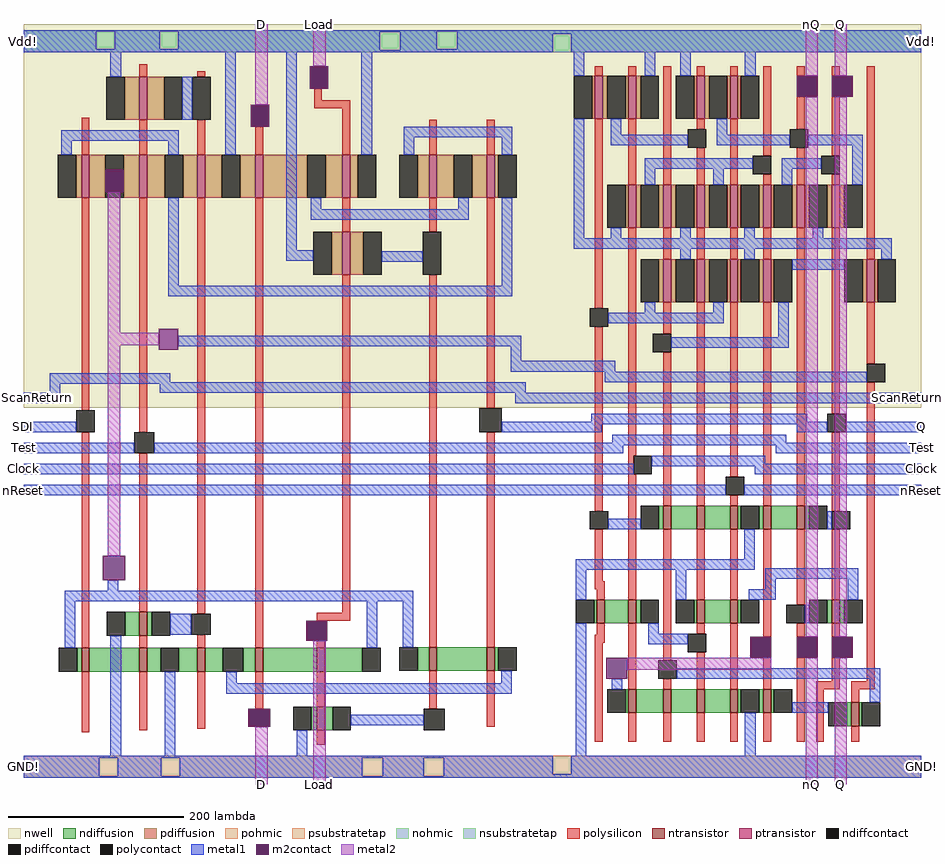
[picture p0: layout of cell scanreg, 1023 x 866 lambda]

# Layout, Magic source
magic
tech tsmc180
<< nwell >>
rect 0 429 1023 866
<< polysilicon >>
rect 132 806 141 820
rect 198 806 207 812
rect 66 717 75 759
rect 651 807 660 818
rect 689 807 698 818
rect 331 779 340 792
rect 132 717 141 757
rect 198 717 207 757
rect 331 770 372 779
rect 264 717 273 749
rect 363 717 372 770
rect 462 717 471 757
rect 528 717 537 757
rect 66 426 75 668
rect 132 401 141 668
rect 66 155 75 401
rect 132 196 141 377
rect 198 194 207 668
rect 132 155 141 169
rect 198 155 207 170
rect 264 155 273 668
rect 363 629 372 668
rect 462 629 471 668
rect 363 195 372 580
rect 334 186 372 195
rect 334 155 343 163
rect 462 156 471 580
rect 528 428 537 668
rect 651 542 660 758
rect 689 683 698 758
rect 729 683 738 818
rect 767 807 776 818
rect 805 807 814 818
rect 767 746 776 758
rect 767 683 776 725
rect 805 683 814 758
rect 843 716 852 818
rect 881 807 890 818
rect 921 807 930 818
rect 881 746 890 783
rect 843 683 852 695
rect 881 683 890 725
rect 921 716 930 783
rect 921 683 930 695
rect 528 156 537 401
rect 651 311 660 521
rect 689 374 698 634
rect 729 598 738 634
rect 767 598 776 634
rect 805 598 814 634
rect 843 598 852 634
rect 729 513 738 549
rect 689 353 695 374
rect 651 231 660 290
rect 651 222 662 231
rect 653 210 662 222
rect 689 210 698 353
rect 729 317 738 492
rect 767 317 776 549
rect 805 350 814 549
rect 805 317 814 329
rect 843 317 852 549
rect 881 422 890 634
rect 921 422 930 634
rect 961 598 970 818
rect 961 479 970 549
rect 881 401 892 422
rect 881 317 890 401
rect 921 311 930 401
rect 653 170 662 183
rect 651 161 662 170
rect 66 59 75 128
rect 132 61 141 128
rect 198 63 207 128
rect 264 86 273 128
rect 334 88 343 128
rect 462 86 471 129
rect 528 65 537 129
rect 334 45 343 61
rect 651 48 660 161
rect 689 108 698 183
rect 729 141 738 290
rect 767 210 776 290
rect 805 210 814 290
rect 767 171 776 183
rect 729 108 738 120
rect 767 108 776 150
rect 805 108 814 183
rect 843 168 852 290
rect 881 204 890 290
rect 921 210 930 290
rect 843 108 852 144
rect 881 168 890 183
rect 921 168 930 183
rect 689 48 698 81
rect 729 48 738 81
rect 767 48 776 81
rect 805 48 814 81
rect 843 48 852 81
rect 881 48 890 144
rect 921 117 930 144
rect 961 117 970 458
rect 903 108 930 117
rect 943 108 970 117
rect 903 48 912 108
rect 943 93 952 108
rect 943 48 952 66
<< ndiffusion >>
rect 116 169 132 196
rect 141 169 146 196
rect 724 290 729 317
rect 738 290 767 317
rect 776 290 805 317
rect 814 290 817 317
rect 838 290 843 317
rect 852 290 881 317
rect 890 290 895 317
rect 650 183 653 210
rect 662 183 689 210
rect 698 183 703 210
rect 61 128 66 155
rect 75 128 132 155
rect 141 128 156 155
rect 177 128 198 155
rect 207 128 227 155
rect 250 128 264 155
rect 273 128 334 155
rect 343 128 386 155
rect 449 129 462 156
rect 471 129 528 156
rect 537 129 541 156
rect 328 61 334 88
rect 343 61 352 88
rect 764 183 767 210
rect 776 183 805 210
rect 814 183 817 210
rect 916 183 921 210
rect 930 183 935 210
rect 686 81 689 108
rect 698 81 729 108
rect 738 81 767 108
rect 776 81 805 108
rect 814 81 817 108
rect 838 81 843 108
rect 852 81 855 108
rect 938 66 943 93
rect 952 66 955 93
<< pdiffusion >>
rect 115 757 132 806
rect 141 757 160 806
rect 648 758 651 807
rect 660 758 665 807
rect 686 758 689 807
rect 698 758 703 807
rect 60 668 66 717
rect 75 668 93 717
rect 114 668 132 717
rect 141 668 161 717
rect 182 668 198 717
rect 207 668 226 717
rect 247 668 264 717
rect 273 668 323 717
rect 344 668 363 717
rect 372 668 381 717
rect 449 668 462 717
rect 471 668 490 717
rect 511 668 528 717
rect 537 668 541 717
rect 351 580 363 629
rect 372 580 387 629
rect 764 758 767 807
rect 776 758 781 807
rect 802 758 805 807
rect 814 758 817 807
rect 686 634 689 683
rect 698 634 703 683
rect 724 634 729 683
rect 738 634 743 683
rect 764 634 767 683
rect 776 634 781 683
rect 802 634 805 683
rect 814 634 817 683
rect 838 634 843 683
rect 852 634 855 683
rect 876 634 881 683
rect 890 634 895 683
rect 916 634 921 683
rect 930 634 935 683
rect 724 549 729 598
rect 738 549 743 598
rect 764 549 767 598
rect 776 549 781 598
rect 802 549 805 598
rect 814 549 817 598
rect 838 549 843 598
rect 852 549 855 598
rect 956 549 961 598
rect 970 549 973 598
<< pohmic >>
rect 0 30 603 32
rect 0 9 86 30
rect 107 9 157 30
rect 178 9 386 30
rect 409 9 456 30
rect 479 11 603 30
rect 624 11 1023 32
rect 479 9 1023 11
rect 0 7 1023 9
<< nohmic >>
rect 0 858 1023 859
rect 0 837 83 858
rect 104 837 155 858
rect 176 857 471 858
rect 176 837 406 857
rect 0 836 406 837
rect 429 837 471 857
rect 494 855 1023 858
rect 494 837 603 855
rect 429 836 603 837
rect 0 834 603 836
rect 624 834 1023 855
<< ntransistor >>
rect 132 169 141 196
rect 729 290 738 317
rect 767 290 776 317
rect 805 290 814 317
rect 843 290 852 317
rect 881 290 890 317
rect 653 183 662 210
rect 689 183 698 210
rect 66 128 75 155
rect 132 128 141 155
rect 198 128 207 155
rect 264 128 273 155
rect 334 128 343 155
rect 462 129 471 156
rect 528 129 537 156
rect 334 61 343 88
rect 767 183 776 210
rect 805 183 814 210
rect 921 183 930 210
rect 689 81 698 108
rect 729 81 738 108
rect 767 81 776 108
rect 805 81 814 108
rect 843 81 852 108
rect 943 66 952 93
<< ptransistor >>
rect 132 757 141 806
rect 651 758 660 807
rect 689 758 698 807
rect 66 668 75 717
rect 132 668 141 717
rect 198 668 207 717
rect 264 668 273 717
rect 363 668 372 717
rect 462 668 471 717
rect 528 668 537 717
rect 363 580 372 629
rect 767 758 776 807
rect 805 758 814 807
rect 689 634 698 683
rect 729 634 738 683
rect 767 634 776 683
rect 805 634 814 683
rect 843 634 852 683
rect 881 634 890 683
rect 921 634 930 683
rect 729 549 738 598
rect 767 549 776 598
rect 805 549 814 598
rect 843 549 852 598
rect 961 549 970 598
<< polycontact >>
rect 192 757 213 806
rect 326 792 347 818
rect 259 749 280 774
rect 60 401 81 426
rect 126 377 149 401
rect 191 170 213 194
rect 455 580 476 629
rect 322 163 346 186
rect 757 725 778 746
rect 881 783 905 807
rect 921 783 945 807
rect 873 725 894 746
rect 831 695 852 716
rect 909 695 930 716
rect 645 521 666 542
rect 519 401 545 428
rect 717 492 738 513
rect 695 353 716 374
rect 645 290 666 311
rect 800 329 821 350
rect 961 458 982 479
rect 916 401 937 422
rect 921 290 942 311
rect 256 65 281 86
rect 456 61 480 86
rect 757 150 778 171
rect 723 120 744 141
rect 869 183 890 204
rect 828 144 852 168
rect 881 144 905 168
rect 921 144 945 168
<< ndiffcontact >>
rect 95 169 116 196
rect 146 169 167 196
rect 703 290 724 317
rect 817 290 838 317
rect 895 290 916 317
rect 629 183 650 210
rect 703 183 724 210
rect 40 128 61 155
rect 156 128 177 155
rect 227 128 250 155
rect 386 128 407 155
rect 428 129 449 156
rect 541 129 562 156
rect 307 61 328 88
rect 352 61 373 88
rect 743 183 764 210
rect 817 183 838 210
rect 895 183 916 210
rect 935 183 956 210
rect 665 81 686 108
rect 817 81 838 108
rect 855 81 876 108
rect 917 66 938 93
rect 955 66 976 93
<< pdiffcontact >>
rect 94 757 115 806
rect 160 757 181 806
rect 627 758 648 807
rect 665 758 686 807
rect 703 758 724 807
rect 39 668 60 717
rect 93 668 114 717
rect 161 668 182 717
rect 226 668 247 717
rect 323 668 344 717
rect 381 668 402 717
rect 428 668 449 717
rect 490 668 511 717
rect 541 668 562 717
rect 330 580 351 629
rect 387 580 408 629
rect 743 758 764 807
rect 781 758 802 807
rect 817 758 838 807
rect 665 634 686 683
rect 703 634 724 683
rect 743 634 764 683
rect 781 634 802 683
rect 817 634 838 683
rect 855 634 876 683
rect 895 634 916 683
rect 935 634 956 683
rect 703 549 724 598
rect 743 549 764 598
rect 781 549 802 598
rect 817 549 838 598
rect 855 549 876 598
rect 935 549 956 598
rect 973 549 994 598
<< psubstratetap >>
rect 86 9 107 30
rect 157 9 178 30
rect 386 9 409 30
rect 456 9 479 30
rect 603 11 624 32
<< nsubstratetap >>
rect 83 837 104 858
rect 155 837 176 858
rect 406 836 429 857
rect 471 837 494 858
rect 603 834 624 855
<< metal1 >>
rect 0 858 1023 859
rect 0 837 83 858
rect 104 837 155 858
rect 176 857 471 858
rect 176 837 406 857
rect 0 836 406 837
rect 429 837 471 857
rect 494 855 1023 858
rect 494 837 603 855
rect 429 836 603 837
rect 0 834 603 836
rect 624 834 1023 855
rect 99 806 111 834
rect 181 757 192 806
rect 43 733 177 745
rect 43 717 55 733
rect 165 717 177 733
rect 230 717 242 834
rect 165 568 177 668
rect 299 608 311 834
rect 385 717 397 834
rect 627 807 639 834
rect 708 807 720 834
rect 748 807 760 834
rect 822 807 834 834
rect 433 737 557 749
rect 433 717 445 737
rect 545 717 557 737
rect 327 655 339 668
rect 495 655 507 668
rect 327 643 507 655
rect 299 596 330 608
rect 408 595 455 607
rect 545 568 557 668
rect 627 622 639 758
rect 669 740 681 758
rect 669 728 757 740
rect 790 740 802 758
rect 790 728 873 740
rect 894 728 956 740
rect 708 701 831 713
rect 708 683 720 701
rect 786 683 798 701
rect 864 701 909 713
rect 864 683 876 701
rect 944 683 956 728
rect 669 622 681 634
rect 748 622 760 634
rect 821 622 833 634
rect 899 622 911 634
rect 627 610 989 622
rect 748 598 760 610
rect 821 598 833 610
rect 977 598 989 610
rect 165 556 557 568
rect 876 586 935 598
rect 708 537 720 549
rect 786 537 798 549
rect 666 525 798 537
rect 176 499 567 511
rect 555 482 567 499
rect 860 509 872 549
rect 738 497 872 509
rect 555 470 674 482
rect 30 458 167 468
rect 662 458 961 470
rect 30 456 572 458
rect 30 446 42 456
rect 155 446 572 456
rect 0 434 42 446
rect 560 434 1023 446
rect 0 401 60 413
rect 647 413 893 422
rect 545 410 916 413
rect 545 401 659 410
rect 881 401 916 410
rect 937 401 1023 413
rect 0 377 126 389
rect 671 389 869 398
rect 149 386 1023 389
rect 149 377 683 386
rect 857 377 1023 386
rect 0 353 695 365
rect 716 365 845 374
rect 716 362 1023 365
rect 833 353 1023 362
rect 0 329 800 341
rect 821 329 1023 341
rect 666 290 703 302
rect 916 290 921 311
rect 821 256 833 290
rect 629 244 833 256
rect 96 220 108 232
rect 47 208 444 220
rect 47 155 59 208
rect 167 170 191 194
rect 99 32 111 169
rect 391 155 403 208
rect 432 156 444 208
rect 629 210 641 244
rect 743 210 755 244
rect 845 234 951 246
rect 845 222 857 234
rect 826 210 857 222
rect 939 210 951 234
rect 890 183 895 204
rect 161 32 173 128
rect 231 115 243 128
rect 544 115 556 129
rect 231 103 556 115
rect 373 67 456 79
rect 311 32 323 61
rect 629 32 641 183
rect 712 171 724 183
rect 712 159 757 171
rect 744 120 976 132
rect 670 108 682 120
rect 964 93 976 120
rect 876 81 917 93
rect 822 32 834 81
rect 0 30 603 32
rect 0 9 86 30
rect 107 9 157 30
rect 178 9 386 30
rect 409 9 456 30
rect 479 11 603 30
rect 624 11 1023 32
rect 479 9 1023 11
rect 0 7 1023 9
<< m2contact >>
rect 259 749 280 774
rect 93 674 114 700
rect 326 792 347 818
rect 881 783 905 807
rect 921 783 945 807
rect 154 495 176 519
rect 90 232 116 260
rect 322 163 346 186
rect 256 65 281 86
rect 828 144 852 168
rect 881 144 905 168
rect 921 144 945 168
rect 664 120 688 144
<< metal2 >>
rect 264 774 278 866
rect 330 818 344 866
rect 891 807 905 866
rect 924 807 938 866
rect 96 514 110 674
rect 96 500 154 514
rect 96 260 110 500
rect 891 168 905 783
rect 924 168 938 783
rect 264 0 278 65
rect 330 0 344 163
rect 688 130 852 144
rect 891 0 905 144
rect 924 0 938 144
<< labels >>
rlabel metal1 0 834 0 859 3 Vdd!
rlabel metal2 264 866 278 866 5 D
rlabel metal2 330 866 344 866 5 Load
rlabel metal2 330 0 344 0 1 Load
rlabel metal2 264 0 278 0 1 D
rlabel metal1 0 7 0 32 3 GND!
rlabel metal1 0 377 0 389 3 Test
rlabel metal1 0 353 0 365 3 Clock
rlabel metal1 0 329 0 341 3 nReset
rlabel metal1 0 401 0 413 3 SDI
rlabel metal1 0 434 0 446 3 ScanReturn
rlabel metal1 1023 434 1023 446 7 ScanReturn
rlabel metal1 1023 353 1023 365 7 Clock
rlabel metal1 1023 377 1023 389 7 Test
rlabel metal1 1023 401 1023 413 7 Q
rlabel metal1 1023 329 1023 341 7 nReset
rlabel metal1 1023 834 1023 859 7 Vdd!
rlabel metal1 1023 7 1023 32 7 GND!
rlabel metal2 891 0 905 0 1 nQ
rlabel metal2 924 0 938 0 1 Q
rlabel metal2 891 866 905 866 5 nQ
rlabel metal2 924 866 938 866 5 Q
<< end >>
